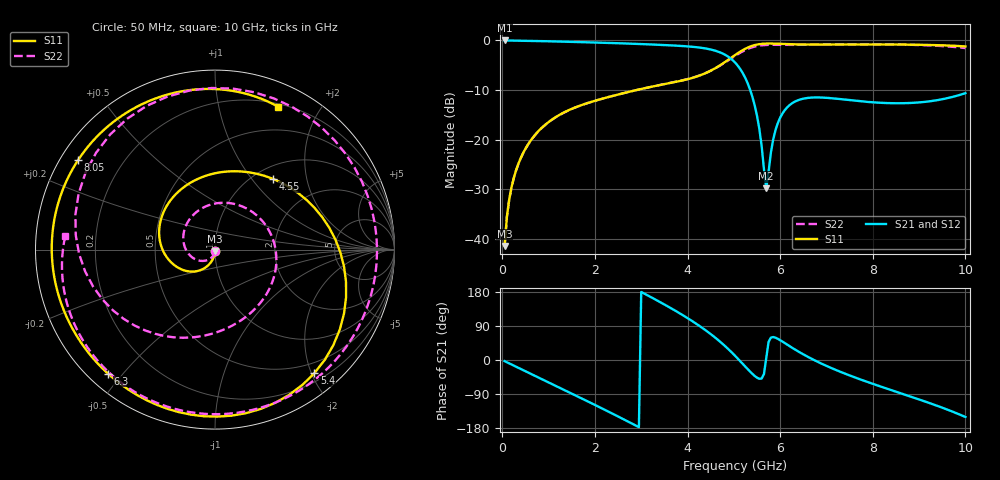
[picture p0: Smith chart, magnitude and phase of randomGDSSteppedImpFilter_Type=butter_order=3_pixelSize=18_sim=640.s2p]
! freq	dB(S11)	phase(S11)	dB(S12)	phase(S12)
!  dB(S21)	phase(S21)	dB(S22)	phase(S22)
!S-par simulation data
#  GHz  S  DB  R 50
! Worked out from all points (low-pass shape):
!   200 points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, 50 MHz to 10 GHz, reference 50 ohm
!   highest |S21| = 0.00 dB at 50 MHz (marker M1); lowest = -29.8 dB at 5.7 GHz (marker M2)
!   |S21| within 3 dB of the highest: start of sweep to 4.831 GHz
!   lowest |S11| = -41.4 dB at 50 MHz (marker M3), VSWR 1.02, Z = 50 - j0.848 ohm
!   |S11| at or under -10 dB: start of sweep to 2.899 GHz
!   |S22| runs from -41.5 to -0.7 dB; largest |S21 - S12| = 0
!   S11 on the Smith chart (normalised r, x): 50 MHz: 1.00, -0.02; 4.55 GHz: 1.21, +1.28; 5.4 GHz: 0.33, -2.05; 6.3 GHz: 0.06, -0.46; 8.05 GHz: 0.05, +0.30; 10 GHz: 0.23, +1.51
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0.05  -41.43 -90.8  -0.00 -3.0  -0.00 -3.0  -41.49 -93.1
0.2  -29.57 -97.4  -0.03 -11.9  -0.03 -11.9  -29.61 -105.7
0.5  -21.83 -109.7  -0.07 -29.7  -0.07 -29.7  -21.87 -130.5
1.15  -15.48 -133.4  -0.21 -68.0  -0.21 -68.0  -15.51 176.0
1.75  -12.91 -152.9  -0.35 -103.5  -0.35 -103.5  -12.92 124.3
2.65  -10.55 178.0  -0.61 -158.3  -0.61 -158.3  -10.56 44.2
3.4  -9.00 143.8  -0.89 153.3  -0.89 153.3  -8.99 -17.9
4.05  -7.70 98.7  -1.24 106.7  -1.24 106.7  -7.67 -66.1
4.55  -5.86 50.7  -1.94 63.7  -1.94 63.7  -5.87 -105.6
5.05  -2.79 -7.6  -4.70 8.2  -4.70 8.2  -2.98 -163.1
5.25  -1.66 -32.6  -7.62 -17.7  -7.62 -17.7  -1.92 166.0
5.4  -1.08 -51.2  -11.36 -36.5  -11.36 -36.5  -1.37 140.9
5.55  -0.75 -68.6  -17.82 -49.6  -17.82 -49.6  -1.05 115.5
5.7  -0.63 -84.4  -29.79 5.7  -29.79 5.7  -0.91 91.2
5.9  -0.65 -102.4  -18.06 58.9  -18.06 58.9  -0.88 61.8
6.3  -0.79 -130.8  -12.43 29.2  -12.43 29.2  -0.90 14.2
6.7  -0.84 -153.3  -11.51 1.9  -11.51 1.9  -0.85 -21.4
7.3  -0.82 178.3  -11.83 -31.2  -11.83 -31.2  -0.77 -61.0
8.05  -0.81 146.8  -12.51 -65.0  -12.51 -65.0  -0.76 -98.3
8.35  -0.82 134.8  -12.64 -77.5  -12.64 -77.5  -0.79 -111.3
9.2  -0.91 100.6  -12.30 -112.5  -12.30 -112.5  -1.00 -146.8
10  -1.21 66.0  -10.64 -150.4  -10.64 -150.4  -1.54 174.7
